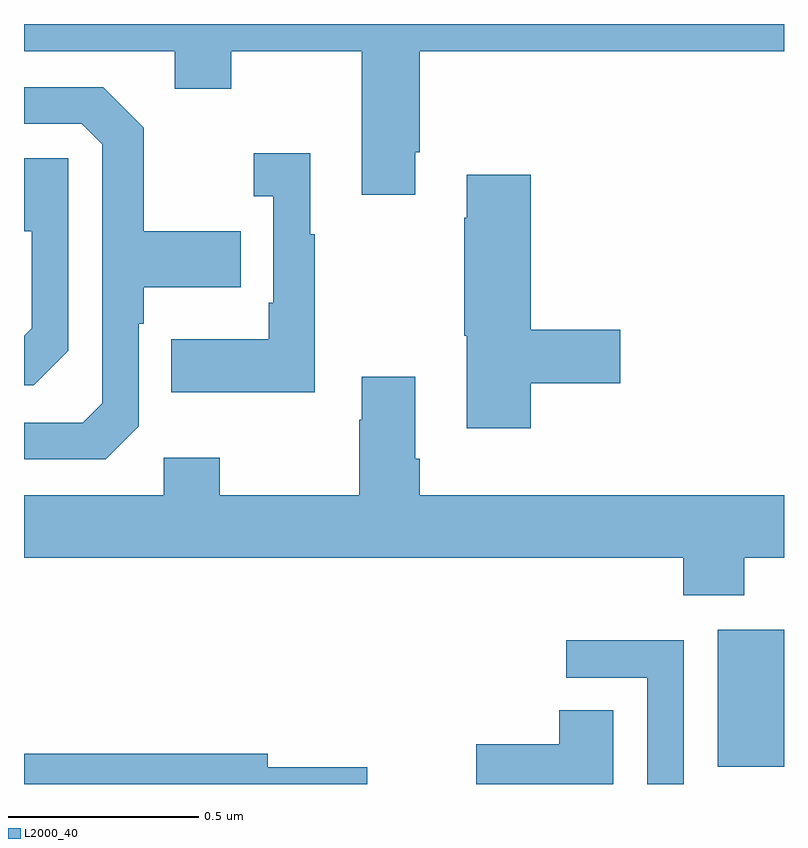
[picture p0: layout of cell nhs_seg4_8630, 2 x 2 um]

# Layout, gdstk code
import gdstk
lib = gdstk.Library(unit=1e-6, precision=1e-09)
def R(c, l, rs):  # rectangles x0, y0, x1, y1
    for r in rs: c.add(gdstk.rectangle(r[:2], r[2:], *l))
def P(c, l, *ps):  # polygons
    for p in ps: c.add(gdstk.Polygon(p, *l))
L2000_40 = (2000, 40)

nhs_seg4_8630 = lib.new_cell('nhs_seg4_8630')
R(nhs_seg4_8630, L2000_40, [(218.825,786.945,219,787.306)])
P(nhs_seg4_8630, L2000_40, [(218.029,788.563),(218.042,788.563),(218.042,788.828),(219,788.828),(219,788.9),(217,788.9),(217,788.828),(217.397,788.828),(217.397,788.729),(217.545,788.729),(217.545,788.828),(217.889,788.828),(217.889,788.451),(218.029,788.451)],
  [(217.302,787.842),(217.302,788.111),(217.315,788.111),(217.315,788.207),(217.571,788.207),(217.571,788.355),(217.315,788.355),(217.315,788.627),(217.209,788.733),(217,788.733),(217,788.637),(217.152,788.637),(217.206,788.583),(217.206,787.902),(217.155,787.851),(217,787.851),(217,787.755),(217.215,787.755)],
  [(217.765,788.347),(217.753,788.347),(217.753,788.56),(217.605,788.56),(217.605,788.447),(217.656,788.447),(217.656,788.167),(217.644,788.167),(217.644,788.071),(217.387,788.071),(217.387,787.931),(217.765,787.931)],
  [(217.116,788.04),(217.116,788.547),(217,788.547),(217,788.354),(217.02,788.354),(217.02,788.1),(217,788.08),(217,787.95),(217.026,787.95)],
  [(218.333,787.954),(218.569,787.954),(218.569,788.096),(218.333,788.096),(218.333,788.503),(218.165,788.503),(218.165,788.39),(218.158,788.39),(218.158,788.079),(218.165,788.079),(218.165,787.836),(218.333,787.836)],
  [(218.895,787.496),(219,787.496),(219,787.66),(218.042,787.66),(218.042,787.756),(218.029,787.756),(218.029,787.972),(217.889,787.972),(217.889,787.859),(217.882,787.859),(217.882,787.66),(217.515,787.66),(217.515,787.759),(217.368,787.759),(217.368,787.66),(217,787.66),(217,787.496),(218.735,787.496),(218.735,787.397),(218.895,787.397)],
  [(218.736,787.278),(218.427,787.278),(218.427,787.179),(218.64,787.179),(218.64,786.9),(218.736,786.9)],
  [(218.551,787.094),(218.408,787.094),(218.408,787.004),(218.19,787.004),(218.19,786.9),(218.551,786.9)],
  [(217.903,786.944),(217.642,786.944),(217.642,786.98),(217,786.98),(217,786.9),(217.903,786.9)])

lib.write_gds('nhs_seg4_8630.gds')
